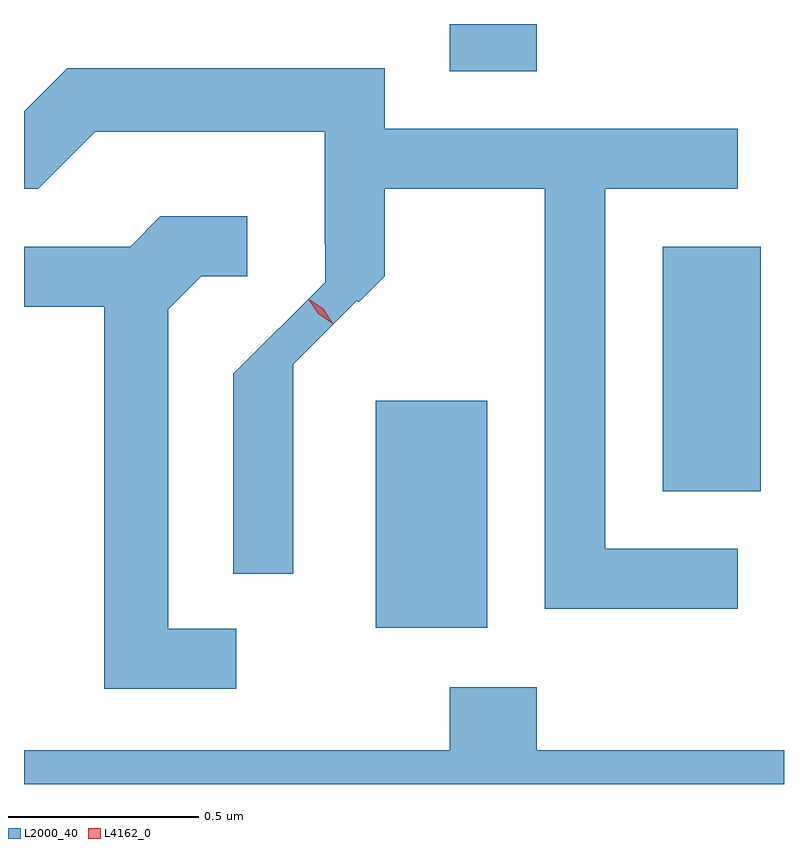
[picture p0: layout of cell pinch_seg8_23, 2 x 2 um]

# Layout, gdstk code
import gdstk
lib = gdstk.Library(unit=1e-6, precision=1e-09)
def R(c, l, rs):  # rectangles x0, y0, x1, y1
    for r in rs: c.add(gdstk.rectangle(r[:2], r[2:], *l))
def P(c, l, *ps):  # polygons
    for p in ps: c.add(gdstk.Polygon(p, *l))
L2000_40 = (2000, 40)
L4162_0 = (4162, 0)

pinch_seg8_23 = lib.new_cell('pinch_seg8_23')
R(pinch_seg8_23, L2000_40, [(1807.006,1837.006,1807.299,1837.604), (1807.761,1837.366,1808.019,1838.009), (1807.201,1838.471,1807.429,1838.595)])
P(pinch_seg8_23, L2000_40, [(1807.958,1837.214),(1807.609,1837.214),(1807.609,1838.161),(1807.958,1838.161),(1807.958,1838.319),(1807.029,1838.319),(1807.029,1838.479),(1806.194,1838.479),(1806.08,1838.365),(1806.08,1838.161),(1806.117,1838.161),(1806.267,1838.311),(1806.871,1838.311),(1806.871,1838.015),(1806.873,1838.015),(1806.873,1837.916),(1806.631,1837.674),(1806.631,1837.148),(1806.789,1837.148),(1806.789,1837.7),(1806.956,1837.867),(1806.961,1837.863),(1807.029,1837.931),(1807.029,1838.161),(1807.451,1838.161),(1807.451,1837.056),(1807.958,1837.056)],
  [(1806.638,1837.004),(1806.459,1837.004),(1806.459,1837.844),(1806.547,1837.931),(1806.668,1837.931),(1806.668,1838.089),(1806.439,1838.089),(1806.359,1838.009),(1806.08,1838.009),(1806.08,1837.851),(1806.291,1837.851),(1806.291,1836.846),(1806.638,1836.846)],
  [(1808.08,1836.684),(1807.429,1836.684),(1807.429,1836.849),(1807.201,1836.849),(1807.201,1836.684),(1806.08,1836.684),(1806.08,1836.595),(1808.08,1836.595)])
P(pinch_seg8_23, L4162_0, [(1806.892,1837.806),(1806.854,1837.832),(1806.829,1837.871),(1806.829,1837.871),(1806.83,1837.871),(1806.868,1837.846),(1806.893,1837.807),(1806.893,1837.806)],
  [(1806.889,1837.811),(1806.854,1837.832),(1806.832,1837.866),(1806.832,1837.866),(1806.833,1837.866),(1806.868,1837.846),(1806.89,1837.812),(1806.89,1837.811)])

lib.write_gds('pinch_seg8_23.gds')
